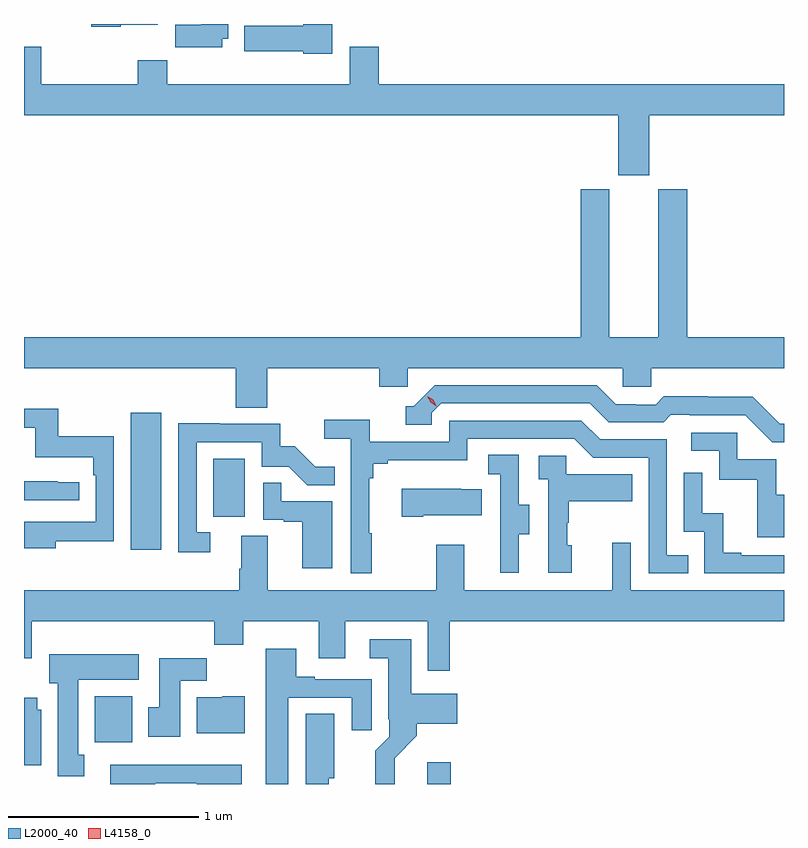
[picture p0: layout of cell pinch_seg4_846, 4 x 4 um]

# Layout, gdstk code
import gdstk
lib = gdstk.Library(unit=1e-6, precision=1e-09)
def R(c, l, rs):  # rectangles x0, y0, x1, y1
    for r in rs: c.add(gdstk.rectangle(r[:2], r[2:], *l))
def P(c, l, *ps):  # polygons
    for p in ps: c.add(gdstk.Polygon(p, *l))
L2000_40 = (2000, 40)
L4158_0 = (4158, 0)

pinch_seg4_846 = lib.new_cell('pinch_seg4_846')
R(pinch_seg4_846, L2000_40, [(882.173,794.632,882.296,794.746), (880.424,794.852,880.621,795.094), (880.613,795.864,880.774,796.585), (881.048,796.038,881.212,796.345)])
P(pinch_seg4_846, L2000_40, [(881.095,798.554),(881.125,798.554),(881.125,798.632),(880.985,798.632),(880.985,798.628),(880.846,798.628),(880.846,798.51),(881.095,798.51)],
  [(880.56,798.629),(880.756,798.629),(880.756,798.632),(880.406,798.632),(880.406,798.617),(880.56,798.617)],
  [(881.674,798.632),(881.522,798.632),(881.522,798.622),(881.21,798.622),(881.21,798.488),(881.52,798.488),(881.52,798.476),(881.674,798.476)],
  [(883.342,798.152),(884.051,798.152),(884.051,798.316),(881.918,798.316),(881.918,798.511),(881.765,798.511),(881.765,798.316),(880.805,798.316),(880.805,798.44),(880.649,798.44),(880.649,798.316),(880.142,798.316),(880.142,798.511),(880.051,798.511),(880.051,798.152),(883.178,798.152),(883.178,797.835),(883.342,797.835)],
  [(881.33,796.82),(881.921,796.82),(881.921,796.722),(882.072,796.722),(882.072,796.82),(883.203,796.82),(883.203,796.722),(883.353,796.722),(883.353,796.82),(884.051,796.82),(884.051,796.984),(883.541,796.984),(883.541,797.763),(883.388,797.763),(883.388,796.984),(883.132,796.984),(883.132,797.763),(882.98,797.763),(882.98,796.984),(880.051,796.984),(880.051,796.82),(881.165,796.82),(881.165,796.612),(881.33,796.612)],
  [(884.051,796.527),(884.028,796.527),(883.886,796.669),(883.65,796.669),(883.65,796.672),(883.417,796.672),(883.375,796.629),(883.272,796.629),(883.272,796.632),(883.165,796.632),(883.066,796.731),(882.213,796.731),(882.102,796.62),(882.059,796.62),(882.059,796.524),(882.198,796.524),(882.198,796.587),(882.246,796.635),(883.029,796.635),(883.128,796.536),(883.417,796.536),(883.456,796.575),(883.555,796.575),(883.555,796.572),(883.848,796.572),(883.989,796.431),(884.051,796.431)],
  [(880.219,795.91),(880.524,795.91),(880.524,796.462),(880.231,796.462),(880.231,796.608),(880.051,796.608),(880.051,796.507),(880.11,796.507),(880.11,796.352),(880.415,796.352),(880.415,796.256),(880.428,796.256),(880.428,796.011),(880.115,796.011),(880.115,796.012),(880.051,796.012),(880.051,795.872),(880.219,795.872)],
  [(881.881,795.953),(881.869,795.953),(881.869,796.241),(881.888,796.241),(881.888,796.318),(881.965,796.318),(881.965,796.337),(882.384,796.337),(882.384,796.449),(882.948,796.449),(883.047,796.35),(883.338,796.35),(883.338,795.741),(883.547,795.741),(883.547,795.837),(883.434,795.837),(883.434,796.446),(883.084,796.446),(882.985,796.545),(882.288,796.545),(882.288,796.434),(881.87,796.434),(881.87,796.55),(881.631,796.55),(881.631,796.448),(881.772,796.448),(881.772,795.741),(881.881,795.741)],
  [(881.032,795.957),(880.959,795.957),(880.959,796.431),(881.301,796.431),(881.301,796.302),(881.445,796.302),(881.543,796.204),(881.687,796.204),(881.687,796.303),(881.583,796.303),(881.476,796.41),(881.4,796.41),(881.4,796.527),(881.081,796.527),(881.081,796.532),(880.863,796.532),(880.863,795.852),(881.032,795.852)],
  [(884.051,796.155),(884.011,796.155),(884.011,796.341),(883.806,796.341),(883.806,796.482),(883.563,796.482),(883.563,796.386),(883.71,796.386),(883.71,796.233),(883.909,796.233),(883.909,795.93),(884.051,795.93)],
  [(882.655,795.946),(882.709,795.946),(882.709,796.101),(882.654,796.101),(882.654,796.364),(882.495,796.364),(882.495,796.261),(882.558,796.261),(882.558,795.957),(882.557,795.957),(882.557,795.744),(882.655,795.744)],
  [(882.934,795.888),(882.909,795.888),(882.909,796.007),(882.919,796.007),(882.919,796.121),(883.253,796.121),(883.253,796.261),(882.906,796.261),(882.906,796.359),(882.759,796.359),(882.759,796.235),(882.81,796.235),(882.81,795.744),(882.934,795.744)],
  [(884.051,795.837),(883.825,795.837),(883.825,795.85),(883.73,795.85),(883.73,796.058),(883.62,796.058),(883.62,796.27),(883.524,796.27),(883.524,795.96),(883.632,795.96),(883.632,795.741),(884.051,795.741)],
  [(880.342,796.221),(880.229,796.221),(880.229,796.226),(880.051,796.226),(880.051,796.125),(880.342,796.125)],
  [(881.674,796.119),(881.405,796.119),(881.405,796.217),(881.31,796.217),(881.31,796.023),(881.417,796.023),(881.417,796.011),(881.516,796.011),(881.516,795.768),(881.674,795.768)],
  [(882.151,796.046),(882.461,796.046),(882.461,796.183),(882.353,796.183),(882.353,796.186),(882.039,796.186),(882.039,796.039),(882.151,796.039)],
  [(882.293,795.488),(884.051,795.488),(884.051,795.652),(883.245,795.652),(883.245,795.901),(883.148,795.901),(883.148,795.652),(882.367,795.652),(882.367,795.892),(882.22,795.892),(882.22,795.652),(881.335,795.652),(881.335,795.938),(881.195,795.938),(881.195,795.764),(881.183,795.764),(881.183,795.652),(880.051,795.652),(880.051,795.294),(880.093,795.294),(880.093,795.488),(881.053,795.488),(881.053,795.364),(881.205,795.364),(881.205,795.488),(881.603,795.488),(881.603,795.294),(881.743,795.294),(881.743,795.488),(882.177,795.488),(882.177,795.228),(882.293,795.228)],
  [(882.001,794.768),(882.119,794.886),(882.119,794.948),(882.331,794.948),(882.331,795.106),(882.088,795.106),(882.088,795.394),(881.871,795.394),(881.871,795.293),(881.969,795.293),(881.969,794.974),(881.973,794.974),(881.973,794.88),(881.899,794.806),(881.899,794.632),(882.001,794.632)],
  [(881.443,795.087),(881.777,795.087),(881.777,794.916),(881.881,794.916),(881.881,795.183),(881.581,795.183),(881.581,795.196),(881.485,795.196),(881.485,795.343),(881.324,795.343),(881.324,794.632),(881.443,794.632)],
  [(880.369,794.786),(880.336,794.786),(880.336,795.182),(880.654,795.182),(880.654,795.316),(880.184,795.316),(880.184,795.162),(880.229,795.162),(880.229,794.673),(880.369,794.673)],
  [(880.873,795.176),(881.012,795.176),(881.012,795.295),(880.763,795.295),(880.763,795.036),(880.706,795.036),(880.706,794.88),(880.873,794.88)],
  [(881.212,795.094),(881.094,795.094),(881.094,795.088),(880.961,795.088),(880.961,794.9),(881.212,794.9)],
  [(880.141,795.024),(880.12,795.024),(880.12,795.085),(880.051,795.085),(880.051,794.732),(880.141,794.732)],
  [(881.656,794.661),(881.683,794.661),(881.683,795.002),(881.534,795.002),(881.534,794.632),(881.656,794.632)],
  [(880.741,794.637),(880.961,794.637),(880.961,794.632),(881.197,794.632),(881.197,794.734),(880.505,794.734),(880.505,794.632),(880.741,794.632)])
P(pinch_seg4_846, L4158_0, [(882.222,796.621),(882.191,796.64),(882.174,796.672),(882.174,796.673),(882.174,796.673),(882.205,796.654),(882.222,796.621),(882.222,796.621)])

lib.write_gds('pinch_seg4_846.gds')
